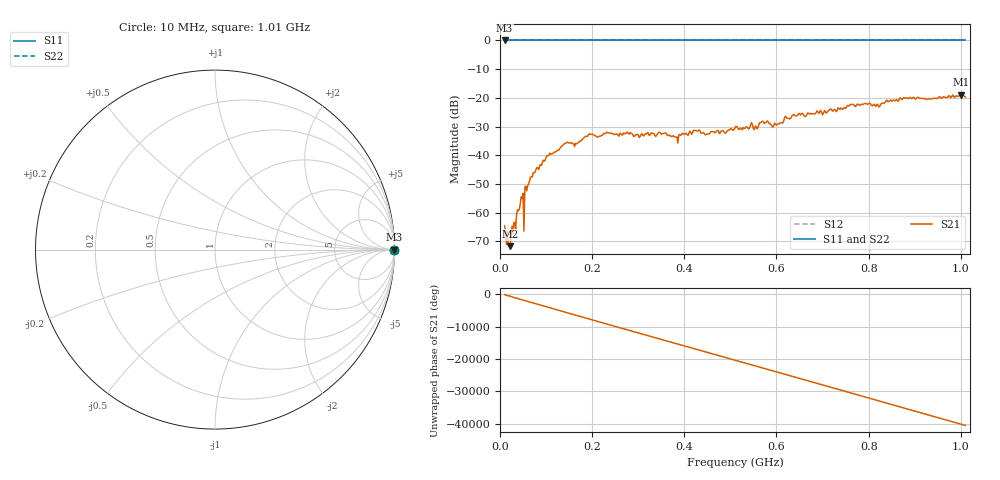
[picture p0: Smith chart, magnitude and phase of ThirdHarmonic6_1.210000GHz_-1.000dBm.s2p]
! 8/16/2025 12:36:31 PM
! C:\ANRITSUVNA\TEMP\TEMP.S2P
! CHANNEL.1
! TR.MEASUREMENT
! RAW.DATA
! RF.CORRECTION.OFF
! AVERAGING.OFF
! IF.BANDWIDTH: 5KHZ
! SWEEPTYPE:  FREQ.SWEEP(Linear)
! Reference Plane Port Info
! PORT:  PORT1  PORT2
! DISTANCE:  0  m  0  m
! TIME:  0  s  0  s
! PHASE.OFFSET:  0  deg.  0  deg.
! LOSS:  0  dB  0  dB
! REF.LOSS:  0  dB  0  dB
! REF.FREQ:  0  Hz  0  Hz
! Power Info
! POWER:  -20  dBm  -20  dBm
! EFF.POWER:  -20  dBm  -20  dBm
! SOURCE.ATTEN:  0  dB  0  dB
! TEST.ATTEN:  0  dB  0  dB
# GHZ S RI R 50.0
! FREQ.GHZ  S11RE  S11IM  S21RE  S21IM  S12RE  S12IM  S22RE  S22IM
!; PortSelection: Port_12
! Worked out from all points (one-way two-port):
!   501 points, 10 MHz to 1.01 GHz, reference 50 ohm
!   highest |S21| = -18.89 dB at 1 GHz (marker M1); lowest = -71.6 dB at 22 MHz (marker M2)
!   lowest |S11| = 0.0 dB at 10 MHz (marker M3)
!   |S11| at or under -10 dB: nowhere
!   |S22| runs from 0.0 to 0.0 dB; largest |S21 - S12| = 1.1
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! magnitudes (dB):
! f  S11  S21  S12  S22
! 10 MHz  0.0  -64.6  0.0  0.0
! 18 MHz  0.0  -71.5  0.0  0.0
! 22 MHz  0.0  -71.6  0.0  0.0
! 46 MHz  0.0  -54.5  0.0  0.0
! 48 MHz  0.0  -55.0  0.0  0.0
! 56 MHz  0.0  -50.7  0.0  0.0
! 58 MHz  0.0  -52.3  0.0  0.0
! 76 MHz  0.0  -45.9  0.0  0.0
! 142 MHz  0.0  -35.8  0.0  0.0
! 178 MHz  0.0  -34.5  0.0  0.0
! 196 MHz  0.0  -32.7  0.0  0.0
! 344 MHz  0.0  -32.1  0.0  0.0
! 382 MHz  0.0  -33.6  0.0  0.0
! 424 MHz  0.0  -31.3  0.0  0.0
! 510 MHz  0.0  -30.5  0.0  0.0
! 554 MHz  0.0  -29.8  0.0  0.0
! 568 MHz  0.0  -28.3  0.0  0.0
! 594 MHz  0.0  -29.7  0.0  0.0
! 678 MHz  0.0  -25.5  0.0  0.0
! 844 MHz  0.0  -21.2  0.0  0.0
! 1 GHz  0.0  -18.9  0.0  0.0
! 1.01 GHz  0.0  -19.7  0.0  0.0
